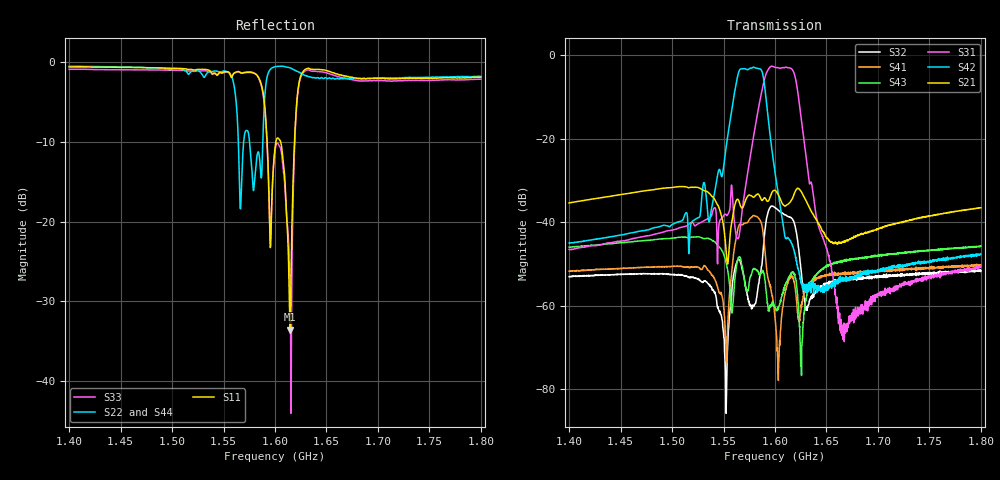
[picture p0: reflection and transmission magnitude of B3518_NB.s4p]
! Matrix data file written by TouchstoneData, EPCOS AG
! FILENAME: "b3518_unm3_NB.s4p_newformat"
! COMMENT: "(b3518_unm3_NB.s4p) EPCOS AG 13.01.2011 15:4"
! INFO: nport=4, nfreq=1601
! DATE: "Tue Apr 19 11:14:11 2011"
! USER: "Sergey Rostovtsev"
! port | pin | signal
!  1  |  2  |  GLON IN
!  2  |  3  |  GPS IN
!  3  |  9  |  GLON OUT
!  4  |  6  |  GPS OUT
# MHZ S MA R 50
! freq  magS11 angS11  magS12 angS12  magS13 angS13  magS14 angS14  ...
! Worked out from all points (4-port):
!   1601 points, 1.4 GHz to 1.8 GHz, reference 50 ohm
!   strongest paths, dB at 1.4 GHz, 1.5 GHz, 1.6 GHz, 1.7 GHz, 1.8 GHz:
!     S21: -35.3, -31.7, -32.4, -41.7, -36.5
!     S42: -45.0, -40.5, -28.1, -51.9, -47.7
!     S31: -46.5, -41.9, -2.9, -57.3, -50.5
!     S43: -46.0, -43.8, -60.4, -48.0, -45.7
!     S41: -51.7, -50.6, -62.8, -51.6, -50.3
!     S32: -53.0, -52.5, -36.5, -52.8, -51.6
!   lowest |S11| = -33.5 dB at 1.615 GHz (marker M1), VSWR 1.04, Z = 52.1 - j0.278 ohm
!   |S11| at or under -10 dB: 1.592 GHz to 1.601 GHz (8.598 MHz wide, 0.538 % of centre); 1.606 GHz to 1.619 GHz (13.43 MHz wide, 0.833 % of centre)
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1400  0.9309 -123.4  0.01712 136.6  0.004716 -37.8  0.002594 141.6
      0.01709 136.7  0.94 -134.5  0.002226 142.1  0.005625 -48.9
      0.004733 -37.9  0.002227 142.2  0.8996 -121.6  0.005035 140.3
      0.002586 141.3  0.005636 -49.2  0.005027 140.2  0.9383 -133.1
1522.25  0.8926 -164.4  0.02631 86.7  0.009047 -81.1  0.002933 92.8
         0.02627 86.5  0.8818 157.6  0.002154 93.7  0.01082 -113.6
         0.009067 -81.1  0.002137 94.0  0.8742 -160.3  0.006634 89.5
         0.002923 92.4  0.0108 -113.6  0.006659 89.3  0.8905 161.3
1552.75  0.8685 158.6  0.004215 58.1  0.01216 -119.4  0.0002202 86.1
         0.004206 58.3  0.8732 50.5  5.944e-05 145.2  0.0834 -50.7
         0.01215 -119.4  7.039e-05 143.3  0.8642 164.9  0.00321 20.8
         0.0002277 78.9  0.08343 -50.8  0.003213 20.8  0.8713 48.3
1579.5  0.851 54.4  0.01998 101.4  0.1132 -38.4  0.01206 96.3
        0.02001 101.2  0.1614 -14.1  0.0009935 151.9  0.7215 -37.9
        0.1131 -38.4  0.000978 151.8  0.8544 61.2  0.002794 18.7
        0.01206 96.2  0.7217 -37.9  0.002775 19.0  0.177 -22.7
1614.5  0.02107 -7.3  0.01738 89.2  0.7079 -89.6  0.002133 -152.5
        0.01736 89.2  0.9188 -68.9  0.0116 -69.1  0.00606 41.1
        0.7081 -89.6  0.01159 -69.1  0.04182 -69.5  0.002267 159.3
        0.002115 -152.1  0.006063 40.8  0.002296 159.3  0.9126 -72.0
1665.25  0.8251 -81.1  0.005804 93.9  0.0004404 -13.8  0.00239 173.3
         0.005789 93.9  0.7862 -98.4  0.002067 174.4  0.002048 -51.6
         0.0004359 -13.0  0.002065 173.9  0.798 -80.5  0.003302 169.1
         0.002399 173.3  0.002037 -51.5  0.003308 169.1  0.7932 -99.8
1800  0.8022 -111.2  0.01493 134.0  0.002994 -50.6  0.003065 152.2
      0.01491 133.9  0.8121 -120.2  0.00262 154.5  0.004131 -52.5
      0.002992 -50.6  0.002617 154.2  0.7804 -109.8  0.005194 149.0
      0.003062 152.4  0.004143 -52.5  0.0052 149.0  0.8237 -119.9
